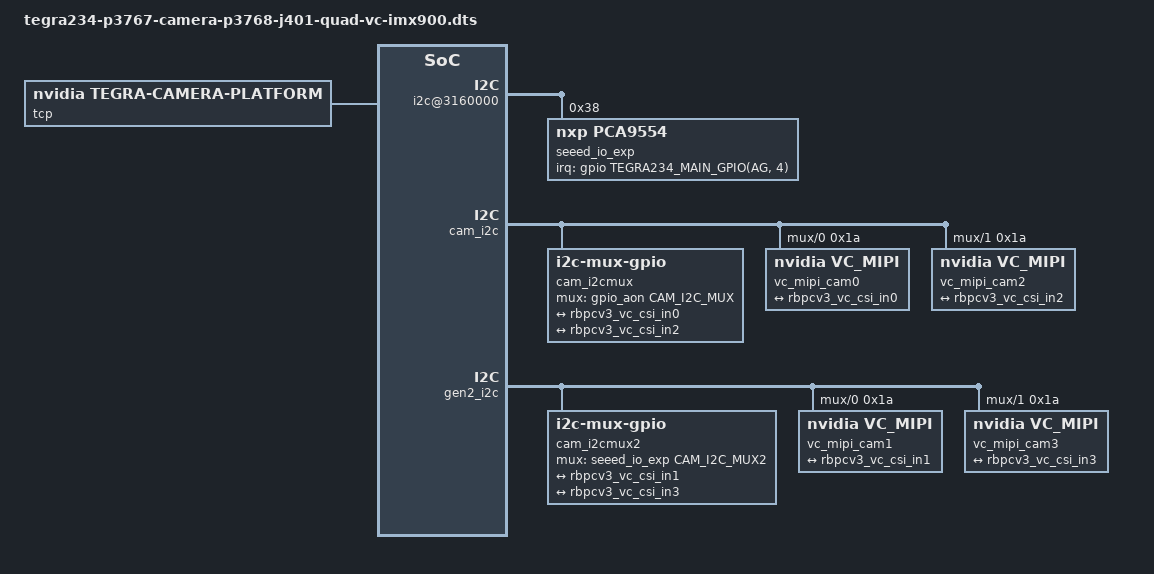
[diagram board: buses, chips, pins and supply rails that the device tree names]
// SPDX-License-Identifier: GPL-2.0-only
// SPDX-FileCopyrightText: Copyright (c) 2023-2024, NVIDIA CORPORATION & AFFILIATES. All rights reserved.

/dts-v1/;
/plugin/;

#define CAM0_RST        TEGRA234_MAIN_GPIO(H, 3)
#define CAM0_PWDN	TEGRA234_MAIN_GPIO(H, 6)
#define CAM1_PWDN	TEGRA234_MAIN_GPIO(AC, 0)
#define CAM_I2C_MUX 	TEGRA234_AON_GPIO(CC, 3)

#define CAM2_PWDN	4
#define CAM3_PWDN	0
#define CAM_I2C_MUX2 	1

#include <dt-bindings/clock/tegra234-clock.h>
#include <dt-bindings/gpio/tegra234-gpio.h>
#include <dt-bindings/tegra234-p3767-0000-common.h>
//#include "tegra234-camera-rbpcv2-imx219.dtsi"
#include <dt-bindings/interrupt-controller/irq.h>

/ {
	overlay-name = "Camera Quad VC on Seeed CAM0-CAM3";
	jetson-header-name = "Jetson 24pin CSI Connector";
	compatible = JETSON_COMPATIBLE_P3768;

	fragment-camera@0 {
		target-path = "/";
		__overlay__ {
				bus@0 {
					i2c@3160000 {
						#address-cells = <1>;
						#size-cells = <0>;
						seeed_io_exp:io_exp@38 {
							compatible = "nxp,pca9554";
							reg = <0x38>;
						status = "okay";
						gpio-controller;
						#gpio-cells = <2>;

						interrupt-parent = <&gpio>;
						interrupts = <TEGRA234_MAIN_GPIO(AG, 4) IRQ_TYPE_LEVEL_LOW>;

						gpio-line-names =
						"CSI3_PWDN"	,"CAM_MUX1_SEL",
						"M2B_PCIe_Reset","PCIe_ETH_Reset",
						"CSI1_PWDN"	,"not_used",
						"not_used"	,"not_used";
								};
							};
								};
							};
	};

	fragment-camera@1 {
		target-path = "/";
		__overlay__ {
			tegra-capture-vi  {
				num-channels = <4>;
				ports {
					#address-cells = <1>;
					#size-cells = <0>;
					vi_port0: port@0 {
						reg = <0>;
						rbpcv3_vc_vi_in0: endpoint {
							port-index = <0>;
							bus-width = <2>;
							remote-endpoint = <&rbpcv3_vc_csi_out0>;
						};
					};
					vi_port1: port@1 {
						reg = <1>;
						rbpcv3_vc_vi_in1: endpoint {
							port-index = <1>;
							bus-width = <2>;
							remote-endpoint = <&rbpcv3_vc_csi_out1>;
						};
					};
					vi_port2: port@2 {
						reg = <2>;
						rbpcv3_vc_vi_in2: endpoint {
							port-index = <2>;
							bus-width = <2>;
							remote-endpoint = <&rbpcv3_vc_csi_out2>;
						};
					};
					vi_port3: port@3 {
						reg = <3>;
						rbpcv3_vc_vi_in3: endpoint {
							port-index = <3>;
							bus-width = <2>;
							remote-endpoint = <&rbpcv3_vc_csi_out3>;
						};
					};
				};
			};

			bus@0 {
				host1x@13e00000 {
					nvcsi@15a00000 {
						num-channels = <4>;
						#address-cells = <1>;
						#size-cells = <0>;
						csi_chan0: channel@0 {
							reg = <0>;
							ports {
								#address-cells = <1>;
								#size-cells = <0>;
								csi_chan0_port0: port@0 {
									reg = <0>;
									rbpcv3_vc_csi_in0: endpoint@0 {
										port-index = <0>;
										bus-width = <2>;
										remote-endpoint = <&rbpcv3_vc_out0>;
									};
								};
								csi_chan0_port1: port@1 {
									reg = <1>;
									rbpcv3_vc_csi_out0: endpoint@1 {
										remote-endpoint = <&rbpcv3_vc_vi_in0>;
									};
								};
							};
						};
						csi_chan1: channel@1 {
							reg = <1>;
							ports {
								#address-cells = <1>;
								#size-cells = <0>;
								csi_chan1_port0: port@0 {
									reg = <0>;
									rbpcv3_vc_csi_in1: endpoint@2 {
										port-index = <1>;
										bus-width = <2>;
										remote-endpoint = <&rbpcv3_vc_out1>;
									};
								};
								csi_chan1_port1: port@1 {
									reg = <1>;
									rbpcv3_vc_csi_out1: endpoint@3 {
										remote-endpoint = <&rbpcv3_vc_vi_in1>;
									};
								};
							};
						};
						csi_chan2: channel@2 {
							reg = <2>;
							ports {
								#address-cells = <1>;
								#size-cells = <0>;
								csi_chan0_port2: port@0 {
									reg = <0>;
									rbpcv3_vc_csi_in2: endpoint@4 {
										port-index = <2>;
										bus-width = <2>;
										remote-endpoint = <&rbpcv3_vc_out2>;
									};
								};
								csi_chan0_port3: port@1 {
									reg = <1>;
									rbpcv3_vc_csi_out2: endpoint@5 {
										remote-endpoint = <&rbpcv3_vc_vi_in2>;
									};
								};
							};
						};
						csi_chan3: channel@3 {
							reg = <3>;
							ports {
								#address-cells = <1>;
								#size-cells = <0>;
								csi_chan1_port2: port@0 {
									reg = <0>;
									rbpcv3_vc_csi_in3: endpoint@6 {
										port-index = <3>;
										bus-width = <2>;
										remote-endpoint = <&rbpcv3_vc_out3>;
									};
								};
								csi_chan1_port3: port@1 {
									reg = <1>;
									rbpcv3_vc_csi_out3: endpoint@7 {
										remote-endpoint = <&rbpcv3_vc_vi_in3>;
									};
								};
							};
						};
					};
				};

				cam_i2cmux {
					status = "okay";
					compatible = "i2c-mux-gpio";
					#address-cells = <1>;
					#size-cells = <0>;
					i2c-parent = <&cam_i2c>;
					mux-gpios = <&gpio_aon CAM_I2C_MUX GPIO_ACTIVE_HIGH>;
					i2c_0:i2c@0 {
						status = "okay";
						reg = <0>;
						#address-cells = <1>;
						#size-cells = <0>;
						rbpcv2_imx219_a@10 {
							reg = <0x10>;
							status = "disabled";
						};

						
						vc_mipi_cam0: vc_mipi@1a {
							reg                     = <0x1a>;

							// Previous systems haven't used this
							//reset-gpios = <&gpio CAM0_PWDN GPIO_ACTIVE_HIGH>;

							compatible              = "nvidia,vc_mipi";
							devnode                 = "video0";
							use_sensor_mode_id      = "false";
							sensor_model            = "vc_mipi";

							num_lanes               = "2";
							trigger_mode            = "0";
							io_mode                 = "0";

							// ----------------------------------------------------
							// If you want to use GStreamer with nvarguscamerasrc
							// you have to adjust this settings
							physical_w              = "4.968";
							physical_h              = "3.726";
							// ----------------------------------------------------
							// This node is needed by the Tegra framework.
							// You don't have to change any settings if just want 
							// to use the V4L API.
							mode0 {
									num_lanes                = "2";
									tegra_sinterface         = "serial_a";
									embedded_metadata_height = "1";
									readout_orientation      = "0";
									lane_polarity            = "6";

									// ----------------------------------------------------
									// If you want to use GStreamer with nvarguscamerasrc
									// you have to adjust this settings. 
									active_l                 = "0";
									active_t                 = "0";
									active_w                 = "2048";
									active_h                 = "1536";
									mode_type                = "bayer";
									pixel_phase              = "rggb";
									csi_pixel_bit_depth      = "10";

									min_gain_val             = "0";         // mdB
									max_gain_val             = "48000";     // mdB
									step_gain_val            = "100";       // mdB
									default_gain             = "0";         // mdB

									min_exp_time             = "1";         // us
									max_exp_time             = "1000000";   // us
									step_exp_time            = "1";         // us
									default_exp_time         = "10000";     // us

									// For applications like argus_camera, there should 
									// be a minimal frame rate greater than zero!
									min_framerate            = "100";       // mHz
									max_framerate            = "60300";     // mHz
									step_framerate           = "100";       // mHz
									default_framerate        = "60300";     // mHz
									// ----------------------------------------------------

									gain_factor              = "1000";
									exposure_factor          = "1000000";
									framerate_factor         = "1000";
									inherent_gain            = "1";
									min_hdr_ratio            = "1";
									max_hdr_ratio            = "1";

									line_length              = "0";
									phy_mode                 = "DPHY";
									discontinuous_clk        = "no";
									mclk_khz                 = "24000";
									pix_clk_hz               = "300000000";
									mclk_multiplier          = "0.0";		// deprecated
									cil_settletime           = "0";
									dpcm_enable              = "false";

									set_mode_delay_ms        = "100000";
							};


							ports {
								#address-cells = <1>;
								#size-cells = <0>;
								port@0 {
									reg = <0>;
									rbpcv3_vc_out0: endpoint {
										port-index = <0>;
										bus-width = <2>;
										remote-endpoint = <&rbpcv3_vc_csi_in0>;
									};
								};
							};
						};

					};
					i2c_1: i2c@1 {
						status = "okay";
						reg = <1>;
						#address-cells = <1>;
						#size-cells = <0>;
						rbpcv2_imx219_c@10 {
							reg = <0x10>;
							status = "disabled";
						};

						
						vc_mipi_cam2: vc_mipi@1a {

							reg                     = <0x1a>;

							// Previous systems haven't used this
							//reset-gpios = <&gpio CAM0_PWDN GPIO_ACTIVE_HIGH>;

							compatible              = "nvidia,vc_mipi";
							devnode                 = "video0";
							use_sensor_mode_id      = "false";
							sensor_model            = "vc_mipi";

							num_lanes               = "2";
							trigger_mode            = "0";
							io_mode                 = "0";

							// ----------------------------------------------------
							// If you want to use GStreamer with nvarguscamerasrc
							// you have to adjust this settings
							physical_w              = "4.968";
							physical_h              = "3.726";
							// ----------------------------------------------------
							// This node is needed by the Tegra framework.
							// You don't have to change any settings if just want 
							// to use the V4L API.
							mode0 {
									num_lanes                = "2";
									tegra_sinterface         = "serial_c";
									embedded_metadata_height = "1";
									readout_orientation      = "0";
									lane_polarity            = "6";

									// ----------------------------------------------------
									// If you want to use GStreamer with nvarguscamerasrc
									// you have to adjust this settings. 
									active_l                 = "0";
									active_t                 = "0";
									active_w                 = "2048";
									active_h                 = "1536";
									mode_type                = "bayer";
									pixel_phase              = "rggb";
									csi_pixel_bit_depth      = "10";

									min_gain_val             = "0";         // mdB
									max_gain_val             = "48000";     // mdB
									step_gain_val            = "100";       // mdB
									default_gain             = "0";         // mdB

									min_exp_time             = "1";         // us
									max_exp_time             = "1000000";   // us
									step_exp_time            = "1";         // us
									default_exp_time         = "10000";     // us

									// For applications like argus_camera, there should 
									// be a minimal frame rate greater than zero!
									min_framerate            = "100";       // mHz
									max_framerate            = "60300";     // mHz
									step_framerate           = "100";       // mHz
									default_framerate        = "60300";     // mHz
									// ----------------------------------------------------

									gain_factor              = "1000";
									exposure_factor          = "1000000";
									framerate_factor         = "1000";
									inherent_gain            = "1";
									min_hdr_ratio            = "1";
									max_hdr_ratio            = "1";

									line_length              = "0";
									phy_mode                 = "DPHY";
									discontinuous_clk        = "no";
									mclk_khz                 = "24000";
									pix_clk_hz               = "300000000";
									mclk_multiplier          = "0.0";		// deprecated
									cil_settletime           = "0";
									dpcm_enable              = "false";

									set_mode_delay_ms        = "100000";
							};


							ports {
								#address-cells = <1>;
								#size-cells = <0>;
								port@0 {
									reg = <0>;
									rbpcv3_vc_out2: endpoint {
										port-index = <2>;
										bus-width = <2>;
										remote-endpoint = <&rbpcv3_vc_csi_in2>;
									};
								};
							};
						};
					};
				};


				cam_i2cmux2 {
					status = "okay";
					compatible = "i2c-mux-gpio";
					#address-cells = <1>;
					#size-cells = <0>;
					i2c-parent = <&gen2_i2c>;
					mux-gpios = <&seeed_io_exp CAM_I2C_MUX2 GPIO_ACTIVE_HIGH>;

					i2c@0 {
						status = "okay";
						reg = <0>;
						#address-cells = <1>;
						#size-cells = <0>;


						vc_mipi_cam1: vc_mipi@1a {

							reg                     = <0x1a>;

							// Previous systems haven't used this
							//reset-gpios = <&gpio CAM2_PWDN GPIO_ACTIVE_HIGH>;

							compatible              = "nvidia,vc_mipi";
							devnode                 = "video0";
							use_sensor_mode_id      = "false";
							sensor_model            = "vc_mipi";

							num_lanes               = "2";
							trigger_mode            = "0";
							io_mode                 = "0";

							// ----------------------------------------------------
							// If you want to use GStreamer with nvarguscamerasrc
							// you have to adjust this settings
							physical_w              = "4.968";
							physical_h              = "3.726";
							// ----------------------------------------------------
							// This node is needed by the Tegra framework.
							// You don't have to change any settings if just want 
							// to use the V4L API.
							mode0 {
									num_lanes                = "2";
									tegra_sinterface         = "serial_b";
									embedded_metadata_height = "1";
									readout_orientation      = "0";

									// ----------------------------------------------------
									// If you want to use GStreamer with nvarguscamerasrc
									// you have to adjust this settings. 
									active_l                 = "0";
									active_t                 = "0";
									active_w                 = "2048";
									active_h                 = "1536";
									mode_type                = "bayer";
									pixel_phase              = "rggb";
									csi_pixel_bit_depth      = "10";

									min_gain_val             = "0";         // mdB
									max_gain_val             = "48000";     // mdB
									step_gain_val            = "100";       // mdB
									default_gain             = "0";         // mdB

									min_exp_time             = "1";         // us
									max_exp_time             = "1000000";   // us
									step_exp_time            = "1";         // us
									default_exp_time         = "10000";     // us

									// For applications like argus_camera, there should 
									// be a minimal frame rate greater than zero!
									min_framerate            = "100";       // mHz
									max_framerate            = "60300";     // mHz
									step_framerate           = "100";       // mHz
									default_framerate        = "60300";     // mHz
									// ----------------------------------------------------

									gain_factor              = "1000";
									exposure_factor          = "1000000";
									framerate_factor         = "1000";
									inherent_gain            = "1";
									min_hdr_ratio            = "1";
									max_hdr_ratio            = "1";

									line_length              = "0";
									phy_mode                 = "DPHY";
									discontinuous_clk        = "no";
									mclk_khz                 = "24000";
									pix_clk_hz               = "300000000";
									mclk_multiplier          = "0.0";		// deprecated
									cil_settletime           = "0";
									dpcm_enable              = "false";

									set_mode_delay_ms        = "100000";
							};


							ports {
								#address-cells = <1>;
								#size-cells = <0>;
								port@0 {
									reg = <0>;
									rbpcv3_vc_out1: endpoint {
										port-index = <1>;
										bus-width = <2>;
										remote-endpoint = <&rbpcv3_vc_csi_in1>;
									};
								};
							};
						};
					};
					i2c@1 {
						status = "okay";
						reg = <1>;
						#address-cells = <1>;
						#size-cells = <0>;



						vc_mipi_cam3: vc_mipi@1a {

							reg                     = <0x1a>;

							// Previous systems haven't used this
							//reset-gpios = <&gpio CAM0_PWDN GPIO_ACTIVE_HIGH>;

							compatible              = "nvidia,vc_mipi";
							devnode                 = "video0";
							use_sensor_mode_id      = "false";
							sensor_model            = "vc_mipi";

							num_lanes               = "2";
							trigger_mode            = "0";
							io_mode                 = "0";

							// ----------------------------------------------------
							// If you want to use GStreamer with nvarguscamerasrc
							// you have to adjust this settings
							physical_w              = "4.968";
							physical_h              = "3.726";
							// ----------------------------------------------------
							// This node is needed by the Tegra framework.
							// You don't have to change any settings if just want 
							// to use the V4L API.
							mode0 {
									num_lanes                = "2";
									tegra_sinterface         = "serial_d";
									embedded_metadata_height = "1";
									readout_orientation      = "0";

									// ----------------------------------------------------
									// If you want to use GStreamer with nvarguscamerasrc
									// you have to adjust this settings. 
									active_l                 = "0";
									active_t                 = "0";
									active_w                 = "2048";
									active_h                 = "1536";
									mode_type                = "bayer";
									pixel_phase              = "rggb";
									csi_pixel_bit_depth      = "10";

									min_gain_val             = "0";         // mdB
									max_gain_val             = "48000";     // mdB
									step_gain_val            = "100";       // mdB
									default_gain             = "0";         // mdB

									min_exp_time             = "1";         // us
									max_exp_time             = "1000000";   // us
									step_exp_time            = "1";         // us
									default_exp_time         = "10000";     // us

									// For applications like argus_camera, there should 
									// be a minimal frame rate greater than zero!
									min_framerate            = "100";       // mHz
									max_framerate            = "60300";     // mHz
									step_framerate           = "100";       // mHz
									default_framerate        = "60300";     // mHz
									// ----------------------------------------------------

									gain_factor              = "1000";
									exposure_factor          = "1000000";
									framerate_factor         = "1000";
									inherent_gain            = "1";
									min_hdr_ratio            = "1";
									max_hdr_ratio            = "1";

									line_length              = "0";
									phy_mode                 = "DPHY";
									discontinuous_clk        = "no";
									mclk_khz                 = "24000";
									pix_clk_hz               = "300000000";
									mclk_multiplier          = "0.0";		// deprecated
									cil_settletime           = "0";
									dpcm_enable              = "false";

									set_mode_delay_ms        = "100000";
							};


							ports {
								#address-cells = <1>;
								#size-cells = <0>;
								port@0 {
									reg = <0>;
									rbpcv3_vc_out3: endpoint {
										port-index = <3>;
										bus-width = <2>;
										remote-endpoint = <&rbpcv3_vc_csi_in3>;
									};
								};
							};
						};
					};
				};
				lens_imx477@RBPCV3 {
					min_focus_distance = "0.0";
					hyper_focal = "0.0";
					focal_length = "3.04";
					f_number = "2.0";
					aperture = "0.0";
				};
			};

			tcp: tegra-camera-platform {
				compatible = "nvidia, tegra-camera-platform";
				/**
				* Physical settings to calculate max ISO BW
				*
				* num_csi_lanes = <>;
				* Total number of CSI lanes when all cameras are active
				*
				* max_lane_speed = <>;
				* Max lane speed in Kbit/s
				*
				* min_bits_per_pixel = <>;
				* Min bits per pixel
				*
				* vi_peak_byte_per_pixel = <>;
				* Max byte per pixel for the VI ISO case
				*
				* vi_bw_margin_pct = <>;
				* Vi bandwidth margin in percentage
				*
				* max_pixel_rate = <>;
				* Max pixel rate in Kpixel/s for the ISP ISO case
				*
				* isp_peak_byte_per_pixel = <>;
				* Max byte per pixel for the ISP ISO case
				*
				* isp_bw_margin_pct = <>;
				* Isp bandwidth margin in percentage
				*/
				num_csi_lanes = <8>;
				max_lane_speed = <1500000>;
				min_bits_per_pixel = <10>;
				vi_peak_byte_per_pixel = <2>;
				vi_bw_margin_pct = <25>;
				max_pixel_rate = <240000>;
				isp_peak_byte_per_pixel = <5>;
				isp_bw_margin_pct = <25>;
				/**
				 * The general guideline for naming badge_info contains 3 parts, and is as follows,
				 * The first part is the camera_board_id for the module; if the module is in a FFD
				 * platform, then use the platform name for this part.
				 * The second part contains the position of the module, ex. "rear" or "front".
				 * The third part contains the last 6 characters of a part number which is found
				 * in the module's specsheet from the vendor.
				 */
				modules {
					cam_module0: module0 {
						badge = "topleft_RBP194";
						position = "topleft";
						orientation = "1";
						cam_module0_drivernode0: drivernode0 {
							pcl_id = "v4l2_sensor";
							devname = "imx477 12-001a";
							sysfs-device-tree = "/sys/firmware/devicetree/base/bus@0/cam_i2cmux/i2c@0/vc_mipi@1a";
						};
						cam_module0_drivernode1: drivernode1 {
							pcl_id = "v4l2_lens";
							sysfs-device-tree = "/sys/firmware/devicetree/base/bus@0/lens_imx477@RBPCV3";
						};
					};
					cam_module1: module1 {
						badge = "topright_RBP194";
						position = "topright";
						orientation = "1";
						cam_module1_drivernode0: drivernode0 {
							pcl_id = "v4l2_sensor";
							devname = "imx477 10-001a";
							sysfs-device-tree = "/sys/firmware/devicetree/base/bus@0/cam_i2cmux2/i2c@0/vc_mipi@1a";
						};
						cam_module1_drivernode1: drivernode1 {
							pcl_id = "v4l2_lens";
							sysfs-device-tree = "/sys/firmware/devicetree/base/bus@0/lens_imx477@RBPCV3/";
						};
					};
					cam_module2: module2 {
						badge = "bottomleft_RBP194";
						position = "bottomleft";
						orientation = "1";
						cam_module0_drivernode2: drivernode0 {
							pcl_id = "v4l2_sensor";
							devname = "imx477 11-001a";
							sysfs-device-tree = "/sys/firmware/devicetree/base/bus@0/cam_i2cmux/i2c@1/vc_mipi@1a";
						};
						cam_module0_drivernode3: drivernode1 {
							pcl_id = "v4l2_lens";
							sysfs-device-tree = "/sys/firmware/devicetree/base/bus@0/lens_imx477@RBPCV3";
						};
					};
					cam_module3: module3 {
						badge = "bottomright_RBP194";
						position = "bottomright";
						orientation = "1";
						cam_module1_drivernode2: drivernode0 {
							pcl_id = "v4l2_sensor";
							devname = "imx477 9-001a";
							sysfs-device-tree = "/sys/firmware/devicetree/base/bus@0/cam_i2cmux2/i2c@1/vc_mipi@1a";
						};
						cam_module1_drivernode3: drivernode1 {
							pcl_id = "v4l2_lens";
							sysfs-device-tree = "/sys/firmware/devicetree/base/bus@0/lens_imx477@RBPCV3/";
						};
					};
				};
			};
		};
	};
};
